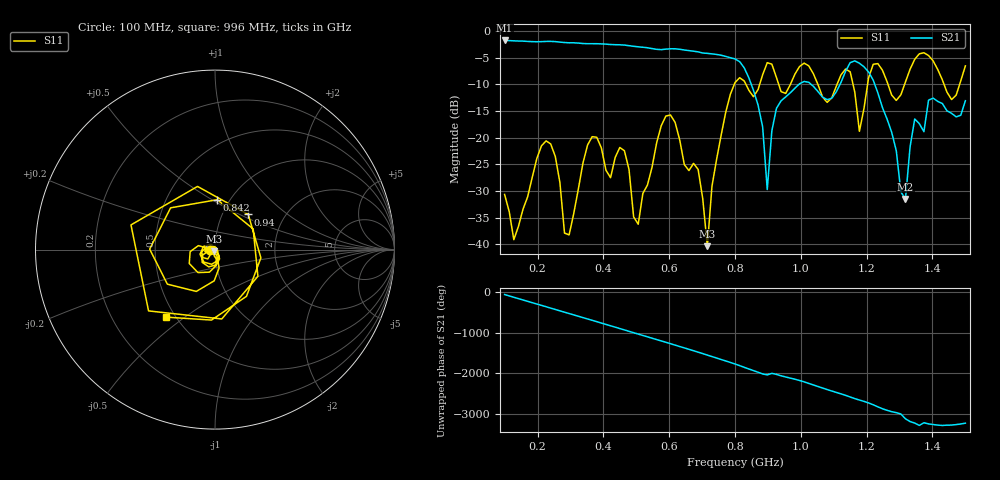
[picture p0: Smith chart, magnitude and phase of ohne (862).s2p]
! NanoVNA-App
! Date: 2025-09-25 14:27:30
! Start: 100MHz Stop: 1,5GHz Points: 101
! S-Parameter data: F S11 S21 S12 S22
# Hz S RI R 50
!  Frequency  S11_Real  S11_Imag  S21_Real  S21_Imag  S12_Real  S12_Imag  S22_Real  S22_Imag
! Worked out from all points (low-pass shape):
!   101 points, 100 MHz to 1.5 GHz, reference 50 ohm
!   highest |S21| = -1.79 dB at 100 MHz (marker M1); lowest = -31.5 dB at 1.318 GHz (marker M2)
!   |S21| within 3 dB of the highest: start of sweep to 772.2 MHz
!   lowest |S11| = -40.3 dB at 716 MHz (marker M3), VSWR 1.02, Z = 49.7 - j0.912 ohm
!   |S11| at or under -10 dB: start of sweep to 798 MHz; 833 MHz to 875.1 MHz (42.02 MHz wide, 4.92 % of centre); 1.052 GHz to 1.11 GHz (58.4 MHz wide, 5.4 % of centre) (the widest 3 of 7)
!   S12 and S22 are empty: the file has one direction only
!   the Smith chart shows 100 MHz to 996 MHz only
!   S11 on the Smith chart (normalised r, x): 100 MHz: 0.94, -0.01; 842 MHz: 0.88, +0.53; 940 MHz: 1.32, +0.56; 996 MHz: 0.45, -0.43
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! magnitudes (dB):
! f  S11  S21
! 100 MHz  -30.6  -1.8
! 128 MHz  -39.1  -1.9
! 226 MHz  -20.6  -2.0
! 296 MHz  -38.2  -2.2
! 338 MHz  -24.8  -2.4
! 464 MHz  -22.4  -2.7
! 506 MHz  -36.2  -3.0
! 576 MHz  -17.8  -3.5
! 688 MHz  -26.0  -3.9
! 716 MHz  -40.3  -4.2
! 800 MHz  -9.7  -5.3
! 842 MHz  -11.1  -8.8
! 898 MHz  -6.0  -29.7
! 940 MHz  -11.4  -13.1
! 996 MHz  -6.7  -9.9
! 1.038 GHz  -8.0  -10.4
! 1.178 GHz  -18.8  -6.1
! 1.22 GHz  -6.3  -9.2
! 1.276 GHz  -12.0  -19.0
! 1.318 GHz  -9.5  -31.5
! 1.346 GHz  -5.3  -16.5
! 1.5 GHz  -6.6  -13.1
